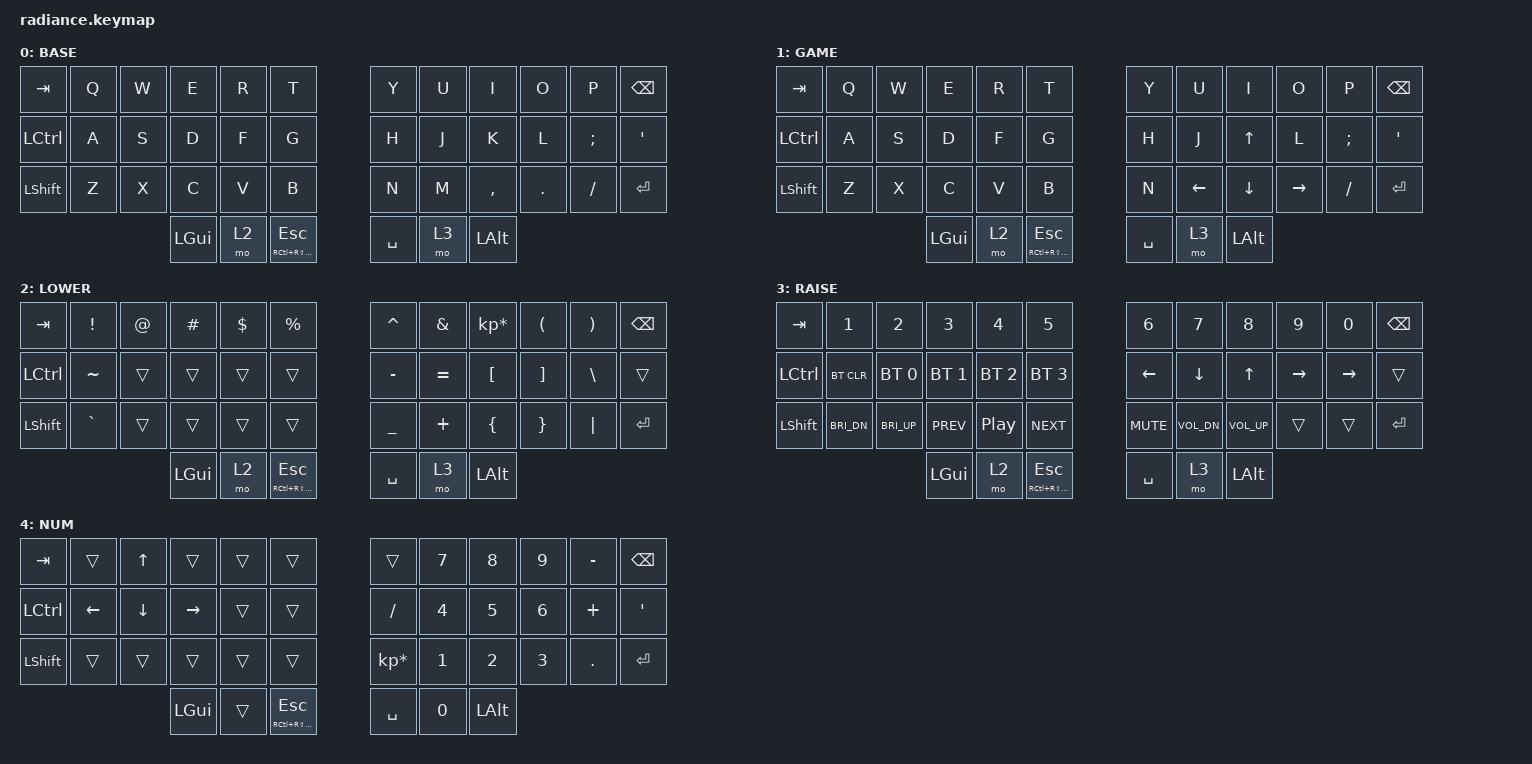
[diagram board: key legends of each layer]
/*
 * Copyright (c) 2020 The ZMK Contributors
 *
 * SPDX-License-Identifier: MIT
 */

#include <behaviors.dtsi>
#include <dt-bindings/zmk/bt.h>
#include <dt-bindings/zmk/keys.h>

/ {
    behaviors {
        tp: tap_preferred {
            compatible = "zmk,behavior-hold-tap";
            label = "TAP_PREFERRED";
            #binding-cells = <2>;
            tapping-term-ms = <150>;
            quick-tap-ms = <0>;
            flavor = "tap-preferred";
            bindings = <&kp>, <&kp>;
        };
    };
    combos {
        compatible = "zmk,combos";
        toggle_gaming {
            key-positions = <36 38>;
            bindings = <&tog 1>;
        };
        toggle_numpad {
            key-positions = <39 41>;
            bindings = <&tog 4>;
        };
    };
    keymap {
        compatible = "zmk,keymap";

        default_layer {
            // -----------------------------------------------------------------------------------------
            // | TAB  |  Q  |  W  |  E  |  R  |  T  |         |  Y  |  U   |  I  |  O  |  P  | BKSP |
            // | CTRL |  A  |  S  |  D  |  F  |  G  |         |  H  |  J   |  K  |  L  |  ;  |  '   |
            // | SHFT |  Z  |  X  |  C  |  V  |  B  |         |  N  |  M   |  ,  |  .  |  /  | ENT  |
            //                    | GUI | LWR | HYPER/ESC |   | SPC | RSE  | ALT |

            display-name = "BASE";
            bindings = <
&kp TAB    &kp Q  &kp W  &kp E    &kp R  &kp T                       &kp Y      &kp U  &kp I      &kp O    &kp P     &kp BSPC
&kp LCTRL  &kp A  &kp S  &kp D    &kp F  &kp G                       &kp H      &kp J  &kp K      &kp L    &kp SEMI  &kp SQT
&kp LSHFT  &kp Z  &kp X  &kp C    &kp V  &kp B                       &kp N      &kp M  &kp COMMA  &kp DOT  &kp FSLH  &kp RET
                         &kp LGUI &mo 2  &tp RC(RS(RA(RGUI))) ESC    &kp SPACE  &mo 3  &kp LALT
            >;
        };
        gaming {
            // -----------------------------------------------------------------------------------------
            // | TAB  |  Q  |  W  |  E  |  R  |  T  |         |  Y  |  U   |  I  |  O  |  P  | BKSP |
            // | CTRL |  A  |  S  |  D  |  F  |  G  |         |  H  |  J   | UP  |  L  |  ;  |  '   |
            // | SHFT |  Z  |  X  |  C  |  V  |  B  |         |  N  | LFT  | DWN | RGT |  /  | ENT  |
            //                    | GUI | LWR | HYPER/ESC |   | SPC | RSE  | ALT |

            display-name = "GAME";
            bindings = <
&kp TAB    &kp Q  &kp W  &kp E    &kp R  &kp T                       &kp Y      &kp U    &kp I      &kp O     &kp P     &kp BSPC
&kp LCTRL  &kp A  &kp S  &kp D    &kp F  &kp G                       &kp H      &kp J    &kp UP     &kp L     &kp SEMI  &kp SQT
&kp LSHFT  &kp Z  &kp X  &kp C    &kp V  &kp B                       &kp N      &kp LEFT &kp DOWN   &kp RIGHT &kp FSLH  &kp RET
                         &kp LGUI &mo 2  &tp RC(RS(RA(RGUI))) ESC    &kp SPACE  &mo 3    &kp LALT
            >;
        };
        layer_below {
            // -----------------------------------------------------------------------------------------
            // | TAB  |  !  |  @  |  #  |  $  |  %  |         |  ^  |  &  |  *  |  (  |  )  | BKSP |
            // | CTRL |  ~  |     |     |     |     |         |  -  |  =  |  [  |  ]  |  \  |      |
            // | SHFT |  `  |     |     |     |     |         |  _  |  +  |  {  |  }  | "|" | ENT  |
            //                    | GUI |     | HYPER/ESC |   | SPC | RSE | ALT |

            display-name = "LOWER";
            bindings = <
&kp TAB    &kp EXCL   &kp AT  &kp HASH  &kp DLLR  &kp PRCNT                   &kp CARET  &kp AMPS   &kp KP_MULTIPLY  &kp LPAR  &kp RPAR  &kp BSPC
&kp LCTRL  &kp TILDE  &trans  &trans    &trans    &trans                      &kp MINUS  &kp EQUAL  &kp LBKT         &kp RBKT  &kp BSLH  &trans
&kp LSHFT  &kp GRAVE  &trans  &trans    &trans    &trans                      &kp UNDER  &kp PLUS   &kp LBRC         &kp RBRC  &kp PIPE  &kp RET
                              &kp LGUI  &mo 2     &tp RC(RS(RA(RGUI))) ESC    &kp SPACE  &mo 3      &kp LALT
            >;
        };
        layer_above {
            // -----------------------------------------------------------------------------------------
            // | TAB  |  1    |  2   |  3  |  4  |  5  |         |   6   |  7   |  8   |  9   | 0   | BKSP |
            // | CTRL | BTCLR | BT1  | BT2 | BT3 | BT4 |         | LFT   | DWN  | UP   | RGT  |     |      |
            // | SHFT | BRID  | BRID | PRV | PP  | NXT |         | MUTE  | VOLD | VOLU | GAME |     | ENT  |
            //                       | GUI |     | HYPER/ESC |   |  SPC  | RSE  | ALT  |

            display-name = "RAISE";
            bindings = <
&kp TAB   &kp N1        &kp N2        &kp N3        &kp N4        &kp N5                      &kp N6     &kp N7       &kp N8       &kp N9     &kp N0    &kp BSPC
&kp LCTRL &bt BT_CLR    &bt BT_SEL 0  &bt BT_SEL 1  &bt BT_SEL 2  &bt BT_SEL 3                &kp LEFT   &kp DOWN     &kp UP       &kp RIGHT  &kp RIGHT &trans
&kp LSHFT &kp C_BRI_DN  &kp C_BRI_UP  &kp C_PREV    &kp C_PP      &kp C_NEXT                  &kp C_MUTE &kp C_VOL_DN &kp C_VOL_UP &trans     &trans    &kp RET
                                      &kp LGUI      &mo 2        &tp RC(RS(RA(RGUI))) ESC     &kp SPACE  &mo 3        &kp LALT
            >;
        };
        numpad {
            // -----------------------------------------------------------------------------------------
            // | TAB  |     | UP  |     |     |     |         |     |  7   |  8  |  9  |  -  | BKSP |
            // | CTRL | LFT | DWN | RGT |     |     |         |  /  |  4   |  5  |  6  |  +  |      |
            // | SHFT |     |     |     |     |     |         |  *  |  1   |  2  |  3  |  .  | ENT  |
            //                    | GUI | LWR | HYPER/ESC |   | SPC |  0   | ALT |

            display-name = "NUM";
            bindings = <
&kp TAB     &trans   &kp UP   &trans    &trans &trans                      &trans          &kp N7 &kp N8   &kp N9 &kp MINUS &kp BSPC
&kp LCTRL   &kp LEFT &kp DOWN &kp RIGHT &trans &trans                      &kp FSLH        &kp N4 &kp N5   &kp N6 &kp PLUS  &kp SQT
&kp LSHIFT  &trans   &trans   &trans    &trans &trans                      &kp KP_MULTIPLY &kp N1 &kp N2   &kp N3 &kp DOT   &kp RET
                              &kp LGUI  &trans &tp RC(RS(RA(RGUI))) ESC    &kp SPACE       &kp N0 &kp LALT
            >;
        };
    };
};
